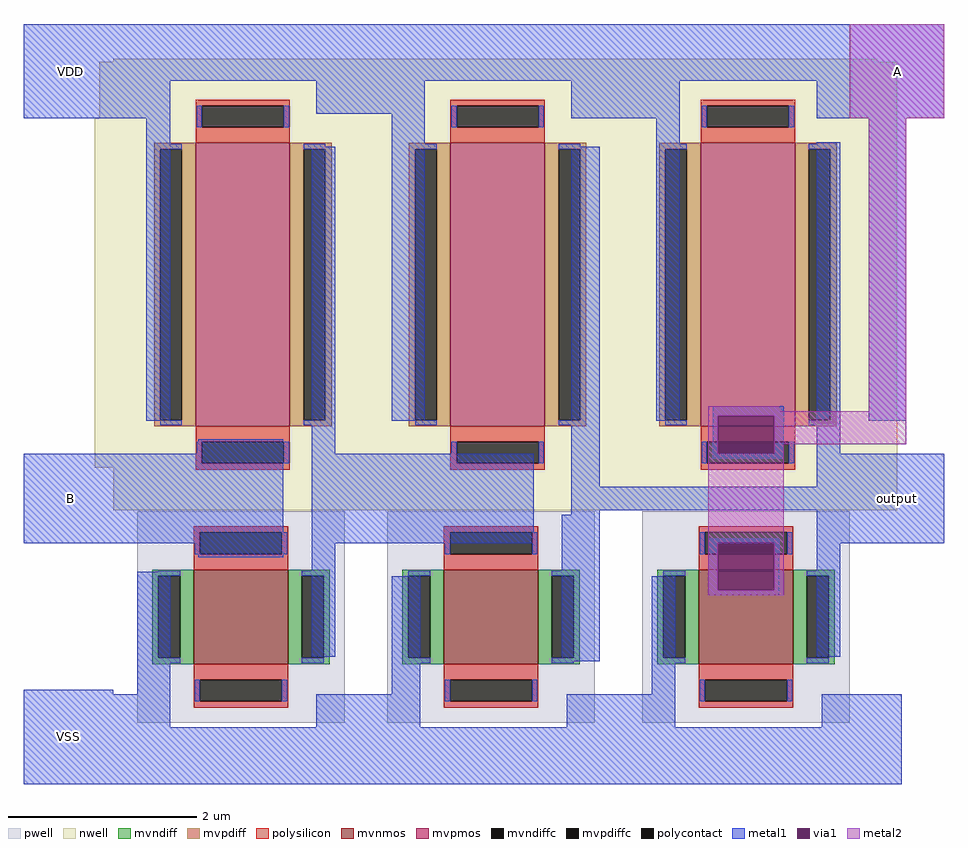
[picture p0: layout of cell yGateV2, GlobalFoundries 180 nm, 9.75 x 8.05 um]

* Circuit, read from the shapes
.subckt yGateV2 VDD VSS A output B
XM1 n1 B VSS VSUBS nfet_06v0 w=1u l=1u
XM2 output n1 VSS VSUBS nfet_06v0 w=1u l=1u
XM3 output A VSS VSUBS nfet_06v0 w=1u l=1u
XM4 n1 B VDD n2 pfet_06v0 w=3u l=1u
XM5 output n1 VDD n2 pfet_06v0 w=3u l=1u
XM6 output A VDD n2 pfet_06v0 w=3u l=1u
.ends

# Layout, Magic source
magic
tech gf180mcuD
magscale 1 5
<< nwell >>
rect 165 545 185 605
rect 205 545 235 605
rect 160 175 235 545
rect 215 130 235 175
rect 965 130 1010 605
<< metal1 >>
rect 85 585 1060 645
rect 85 545 240 585
rect 395 550 510 585
rect 215 225 240 545
rect 270 190 360 205
rect 85 95 360 190
rect 270 80 360 95
rect 390 190 415 515
rect 475 225 510 550
rect 665 545 780 585
rect 925 545 1060 585
rect 390 95 625 190
rect 665 155 695 515
rect 755 225 780 545
rect 815 230 890 240
rect 815 190 820 230
rect 880 190 890 230
rect 815 185 890 190
rect 925 190 950 520
rect 980 225 1020 545
rect 925 155 1060 190
rect 665 130 1060 155
rect 665 125 695 130
rect 85 -65 180 -60
rect 205 -65 240 65
rect 390 -25 415 95
rect 475 -65 505 60
rect 655 -30 695 125
rect 810 95 885 100
rect 750 -65 775 60
rect 810 45 820 95
rect 880 45 885 95
rect 810 40 885 45
rect 925 95 1060 130
rect 925 -25 950 95
rect 85 -100 240 -65
rect 395 -100 505 -65
rect 660 -100 775 -65
rect 930 -100 1015 -65
rect 85 -160 1015 -100
<< via1 >>
rect 820 190 880 230
rect 820 45 880 95
<< metal2 >>
rect 960 545 1060 645
rect 810 235 885 240
rect 980 235 1020 545
rect 810 230 1020 235
rect 810 190 820 230
rect 880 200 1020 230
rect 880 190 890 200
rect 810 95 890 190
rect 810 45 820 95
rect 880 45 890 95
rect 810 40 890 45
use nfet_06v0_M4GS2S  nfet_06v0_M4GS2S_0
transform 1 0 850 0 1 17
box -110 -112 110 112
use pfet_06v0_V8M797  pfet_06v0_V8M797_0
transform -1 0 852 0 -1 369
box -137 -239 137 239
use pfet_06v0_V8M797  pfet_06v0_V8M797_1
transform -1 0 587 0 -1 369
box -137 -239 137 239
use pfet_06v0_V8M797  XM4
transform -1 0 317 0 -1 369
box -137 -239 137 239
use nfet_06v0_M4GS2S  XM5
transform 1 0 315 0 1 17
box -110 -112 110 112
use nfet_06v0_M4GS2S  XM7
transform 1 0 580 0 1 17
box -110 -112 110 112
<< labels >>
rlabel metal1 85 545 185 645 1 VDD
port 1 n power bidirectional
rlabel metal1 85 -160 180 -60 1 VSS
port 2 n ground bidirectional
rlabel metal2 960 545 1060 645 1 A
port 3 n default input
rlabel metal1 960 95 1060 190 1 output
port 4 n default output
rlabel metal1 85 95 185 190 1 B
port 5 n default input
<< end >>

# cell nfet_06v0_M4GS2S: kit device nfet_06v0, w 1.0 l 1.0 m 1 nf 1 diffcov 100 polycov 100 guard 0 glc 1 grc 1 gtc 0 gbc 0 tbcov 100 rlcov 100 topc 1 botc 1 poverlap 0 doverlap 1 lmin 0.6 wmin 0.3 class mosfet full_metal 1 compatible {nfet_03v3 nfet_05v0 nfet_06v0 nfet_06v0_nvt}

# cell pfet_06v0_V8M797: kit device pfet_06v0, w 3.0 l 1.0 m 1 nf 1 diffcov 100 polycov 100 guard 0 glc 1 grc 1 gtc 0 gbc 0 tbcov 100 rlcov 100 topc 1 botc 1 poverlap 0 doverlap 1 lmin 0.55 wmin 0.3 class mosfet full_metal 1 compatible {pfet_03v3 pfet_05v0 pfet_06v0}
